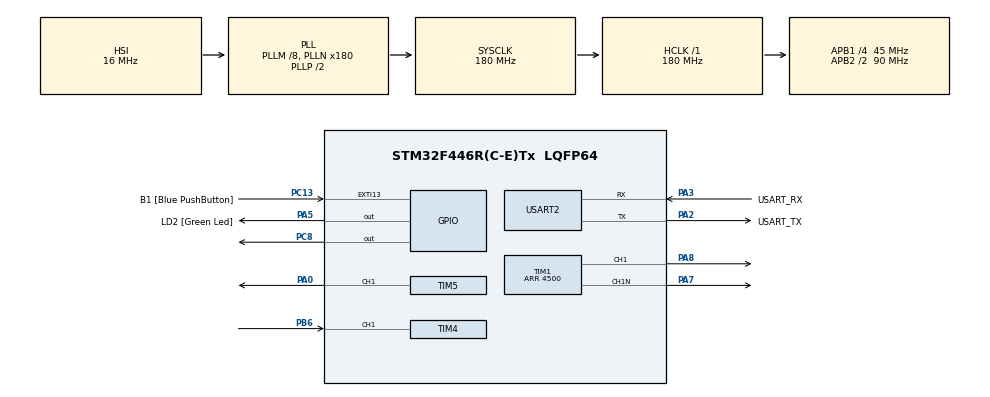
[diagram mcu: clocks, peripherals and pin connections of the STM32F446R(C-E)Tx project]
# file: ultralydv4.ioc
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Dma.Request0=USART2_TX
Dma.USART2_TX.0.Direction=DMA_MEMORY_TO_PERIPH
Dma.USART2_TX.0.FIFOMode=DMA_FIFOMODE_DISABLE
Dma.USART2_TX.0.Instance=DMA1_Stream6
Dma.USART2_TX.0.MemDataAlignment=DMA_MDATAALIGN_BYTE
Dma.USART2_TX.0.MemInc=DMA_MINC_ENABLE
Dma.USART2_TX.0.Mode=DMA_NORMAL
Dma.USART2_TX.0.PeriphDataAlignment=DMA_PDATAALIGN_BYTE
Dma.USART2_TX.0.PeriphInc=DMA_PINC_DISABLE
Dma.USART2_TX.0.Priority=DMA_PRIORITY_LOW
FREERTOS.Tasks01=defaultTask,24,1024,StartDefaultTask,As weak,NULL,Dynamic,NULL,NULL
FREERTOS.configMINIMAL_STACK_SIZE=1024
FREERTOS.configTOTAL_HEAP_SIZE=30000
FREERTOS.configUSE_NEWLIB_REENTRANT=1
Mcu.Family=STM32F4
Mcu.Name=STM32F446R(C-E)Tx
Mcu.Package=LQFP64
NVIC.DMA1_Stream6_IRQn=true\:5\:0\:false\:false\:true\:true\:false\:true\:true
NVIC.PriorityGroup=NVIC_PRIORITYGROUP_4
NVIC.TIM2_IRQn=true\:5\:0\:false\:false\:true\:true\:true\:true\:true
NVIC.TIM4_IRQn=true\:5\:0\:false\:false\:true\:true\:true\:true\:true
NVIC.TIM7_IRQn=true\:15\:0\:false\:false\:true\:false\:false\:true\:true
NVIC.TimeBase=TIM7_IRQn
NVIC.TimeBaseIP=TIM7
NVIC.USART2_IRQn=true\:5\:0\:false\:false\:true\:true\:true\:true\:true
PA0-WKUP.Signal=S_TIM5_CH1
PA13.GPIO_Label=TMS
PA13.Mode=Serial_Wire
PA13.Signal=SYS_JTMS-SWDIO
PA14.GPIO_Label=TCK
PA14.Mode=Serial_Wire
PA14.Signal=SYS_JTCK-SWCLK
PA2.GPIO_Label=USART_TX
PA2.Mode=Asynchronous
PA2.Signal=USART2_TX
PA3.GPIO_Label=USART_RX
PA3.Mode=Asynchronous
PA3.Signal=USART2_RX
PA5.GPIO_Label=LD2 [Green Led]
PA5.Signal=GPIO_Output
PA7.Mode=PWM Generation1 CH1 CH1N
PA7.Signal=TIM1_CH1N
PA8.Signal=S_TIM1_CH1
PB3.GPIO_Label=SWO
PB3.Signal=SYS_JTDO-SWO
PB6.Signal=S_TIM4_CH1
PC13.GPIO_Label=B1 [Blue PushButton]
PC13.GPIO_ModeDefaultEXTI=GPIO_MODE_IT_FALLING
PC13.Signal=GPXTI13
PC14-OSC32_IN.Mode=LSE-External-Oscillator
PC14-OSC32_IN.Signal=RCC_OSC32_IN
PC15-OSC32_OUT.Mode=LSE-External-Oscillator
PC15-OSC32_OUT.Signal=RCC_OSC32_OUT
PC8.Signal=GPIO_Output
ProjectManager.HeapSize=0x200
ProjectManager.StackSize=0x400
ProjectManager.TargetToolchain=STM32CubeIDE
RCC.48MHZClocksFreq_Value=84000000
RCC.AHBFreq_Value=180000000
RCC.APB1CLKDivider=RCC_HCLK_DIV4
RCC.APB1Freq_Value=45000000
RCC.APB1TimFreq_Value=90000000
RCC.APB2CLKDivider=RCC_HCLK_DIV2
RCC.APB2Freq_Value=90000000
RCC.APB2TimFreq_Value=180000000
RCC.CortexFreq_Value=180000000
RCC.FLatency-AdvancedSettings=FLASH_LATENCY_5
RCC.HCLKFreq_Value=180000000
RCC.HSE_VALUE=8000000
RCC.HSI_VALUE=16000000
RCC.PLLM=8
RCC.PLLN=180
RCC.SYSCLKFreq_VALUE=180000000
RCC.SYSCLKSource=RCC_SYSCLKSOURCE_PLLCLK
RCC.USBFreq_Value=180000000
RCC.VCOOutputFreq_Value=360000000
SH.S_TIM1_CH1.0=TIM1_CH1,PWM Generation1 CH1 CH1N
SH.S_TIM4_CH1.0=TIM4_CH1,Input_Capture1_from_TI1
SH.S_TIM5_CH1.0=TIM5_CH1,PWM Generation1 CH1
TIM1.AutoReloadPreload=TIM_AUTORELOAD_PRELOAD_ENABLE
TIM1.BreakState=TIM_BREAK_DISABLE
TIM1.Channel-PWM\ Generation1\ CH1\ CH1N=TIM_CHANNEL_1
TIM1.DeadTime=150
TIM1.Period=4500
TIM1.Pulse-PWM\ Generation1\ CH1\ CH1N=40
TIM2.Period=22500
TIM4.Channel-Input_Capture1_from_TI1=TIM_CHANNEL_1
TIM4.Prescaler=14
TIM4.TIM_MasterOutputTrigger=TIM_TRGO_UPDATE
TIM5.AutoReloadPreload=TIM_AUTORELOAD_PRELOAD_ENABLE
TIM5.Channel-PWM\ Generation1\ CH1=TIM_CHANNEL_1
TIM5.Period=2000
TIM5.Prescaler=45
TIM5.Pulse-PWM\ Generation1\ CH1=1000
USART2.VirtualMode=VM_ASYNC
VP_FREERTOS_VS_CMSIS_V2.Mode=CMSIS_V2
VP_SYS_VS_tim7.Mode=TIM7
VP_TIM1_VS_ClockSourceINT.Mode=Internal
VP_TIM2_VS_ClockSourceINT.Mode=Internal
VP_TIM2_VS_OPM.Mode=OPM_bit
VP_TIM4_VS_ClockSourceINT.Mode=Internal
VP_TIM5_VS_ClockSourceINT.Mode=Internal
board=NUCLEO-F446RE

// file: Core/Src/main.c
/* USER CODE BEGIN Header */
/**
  ******************************************************************************
  * @file           : main.c
  * @brief          : Main program body
  ******************************************************************************
  * @attention
  *
  * Copyright (c) 2023 STMicroelectronics.
  * All rights reserved.
  *
  * This software is licensed under terms that can be found in the LICENSE file
  * in the root directory of this software component.
  * If no LICENSE file comes with this software, it is provided AS-IS.
  *
  ******************************************************************************
  */
/* USER CODE END Header */
#include "main.h"
#include "cmsis_os.h"
#include "dma.h"
#include "tim.h"
#include "usart.h"
#include "gpio.h"

/* USER CODE BEGIN Includes */
#include "BuzzerTask.h"
#include "DefTask.h"
#include "print_server.h"
/* USER CODE END Includes */

/* USER CODE BEGIN PV */
int captured_value1 = 0;
volatile int hardwareDelayFlag = 0;
/* USER CODE END PV */

void SystemClock_Config(void);
void MX_FREERTOS_Init(void);

int main(void)
{

  /* MCU Configuration--------------------------------------------------------*/

  /* Reset of all peripherals, Initializes the Flash interface and the Systick. */
  HAL_Init();

  /* Configure the system clock */
  SystemClock_Config();

  /* Initialize all configured peripherals */
  MX_GPIO_Init();
  MX_DMA_Init();
  MX_USART2_UART_Init();
  MX_TIM1_Init();
  MX_TIM2_Init();
  MX_TIM4_Init();
  MX_TIM5_Init();

  /* Init scheduler */
  osKernelInitialize();  /* Call init function for freertos objects (in freertos.c) */
  MX_FREERTOS_Init();

  /* Start scheduler */
  osKernelStart();

  /* We should never get here as control is now taken by the scheduler */
  /* Infinite loop */
  while (1)
  {

  }
}

void SystemClock_Config(void)
{
  RCC_OscInitTypeDef RCC_OscInitStruct = {0};
  RCC_ClkInitTypeDef RCC_ClkInitStruct = {0};

  /** Configure the main internal regulator output voltage
  */
  __HAL_RCC_PWR_CLK_ENABLE();
  __HAL_PWR_VOLTAGESCALING_CONFIG(PWR_REGULATOR_VOLTAGE_SCALE1);

  /** Initializes the RCC Oscillators according to the specified parameters
  * in the RCC_OscInitTypeDef structure.
  */
  RCC_OscInitStruct.OscillatorType = RCC_OSCILLATORTYPE_HSI;
  RCC_OscInitStruct.HSIState = RCC_HSI_ON;
  RCC_OscInitStruct.HSICalibrationValue = RCC_HSICALIBRATION_DEFAULT;
  RCC_OscInitStruct.PLL.PLLState = RCC_PLL_ON;
  RCC_OscInitStruct.PLL.PLLSource = RCC_PLLSOURCE_HSI;
  RCC_OscInitStruct.PLL.PLLM = 8;
  RCC_OscInitStruct.PLL.PLLN = 180;
  RCC_OscInitStruct.PLL.PLLP = RCC_PLLP_DIV2;
  RCC_OscInitStruct.PLL.PLLQ = 2;
  RCC_OscInitStruct.PLL.PLLR = 2;
  if (HAL_RCC_OscConfig(&RCC_OscInitStruct) != HAL_OK)
  {
    Error_Handler();
  }

  /** Activate the Over-Drive mode
  */
  if (HAL_PWREx_EnableOverDrive() != HAL_OK)
  {
    Error_Handler();
  }

  /** Initializes the CPU, AHB and APB buses clocks
  */
  RCC_ClkInitStruct.ClockType = RCC_CLOCKTYPE_HCLK|RCC_CLOCKTYPE_SYSCLK
                              |RCC_CLOCKTYPE_PCLK1|RCC_CLOCKTYPE_PCLK2;
  RCC_ClkInitStruct.SYSCLKSource = RCC_SYSCLKSOURCE_PLLCLK;
  RCC_ClkInitStruct.AHBCLKDivider = RCC_SYSCLK_DIV1;
  RCC_ClkInitStruct.APB1CLKDivider = RCC_HCLK_DIV4;
  RCC_ClkInitStruct.APB2CLKDivider = RCC_HCLK_DIV2;

  if (HAL_RCC_ClockConfig(&RCC_ClkInitStruct, FLASH_LATENCY_5) != HAL_OK)
  {
    Error_Handler();
  }
}

/* USER CODE BEGIN 4 */
void HAL_TIM_IC_CaptureCallback(TIM_HandleTypeDef *htim)
{//printf("Callback \n \r");
	if (htim->Instance == TIM4)
	{
		//HAL_GPIO_TogglePin(GPIOB, GPIO_PIN_6);
		//printf("CCR1 is %i \n", TIM4->CCR1);
		if (TIM4->CCR1 >= 2000){
			captured_value1 = TIM4->CCR1;
			TIM4->DIER &= ~(1<<1);
		}

	}
}
/* USER CODE END 4 */

void HAL_TIM_PeriodElapsedCallback(TIM_HandleTypeDef *htim)
{
  /* USER CODE BEGIN Callback 0 */
	if (htim->Instance == TIM2) {
//		HAL_GPIO_TogglePin(GPIOC, GPIO_PIN_8);
		if(hardwareDelayFlag == 1)
		{
//			HAL_GPIO_TogglePin(GPIOC, GPIO_PIN_8);
			HAL_TIM_PWM_Stop(&htim1, TIM_CHANNEL_1);
			HAL_TIMEx_PWMN_Stop(&htim1, TIM_CHANNEL_1);
			TIM1->CNT = 0;
			TIM2->ARR = 54000;
			__HAL_TIM_ENABLE(&htim2);
			//HAL_TIM_IC_Stop_IT(&htim4, TIM_CHANNEL_1);

						hardwareDelayFlag = 0;

		}		else
		{
			__HAL_TIM_ENABLE(&htim4);
			TIM4->DIER |= (1<<1);
								TIM4->SR &= ~(1<<1);
								TIM4->CNT = 0;
		}

	}

  /* USER CODE END Callback 0 */
  if (htim->Instance == TIM7) {
    HAL_IncTick();
  }
}

void Error_Handler(void)
{
  __disable_irq();
  while (1)
  {
  }
}

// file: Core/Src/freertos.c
/* USER CODE BEGIN Header */
/**
  ******************************************************************************
  * File Name          : freertos.c
  * Description        : Code for freertos applications
  ******************************************************************************
  * @attention
  *
  * Copyright (c) 2023 STMicroelectronics.
  * All rights reserved.
  *
  * This software is licensed under terms that can be found in the LICENSE file
  * in the root directory of this software component.
  * If no LICENSE file comes with this software, it is provided AS-IS.
  *
  ******************************************************************************
  */
/* USER CODE END Header */

#include "FreeRTOS.h"
#include "task.h"
#include "main.h"
#include "cmsis_os.h"

/* USER CODE BEGIN Includes */
#include "DefTask.h"
#include "BuzzerTask.h"
#include "print_server.h"
#include "Myapp.h"
/* USER CODE END Includes */

/* Definitions for defaultTask */
osThreadId_t defaultTaskHandle;
const osThreadAttr_t defaultTask_attributes = {
  .name = "defaultTask",
  .stack_size = 1024 * 4,
  .priority = (osPriority_t) osPriorityNormal,
};

void StartDefaultTask(void *argument);

void MX_FREERTOS_Init(void); /* (MISRA C 2004 rule 8.1) */

void MX_FREERTOS_Init(void) {
  /* USER CODE BEGIN Init */
	//PrintServerPrintfInit();
	//deftask_init();
	//buzzer_init();
	PrintServerPrintfInit();
	deftask_init();
	buzzer_init();
  /* USER CODE END Init */

  /* Create the thread(s) */
  /* creation of defaultTask */
  defaultTaskHandle = osThreadNew(StartDefaultTask, NULL, &defaultTask_attributes);

}

__weak void StartDefaultTask(void *argument)
{
  for(;;)
  {
    osDelay(1);
  }
}
